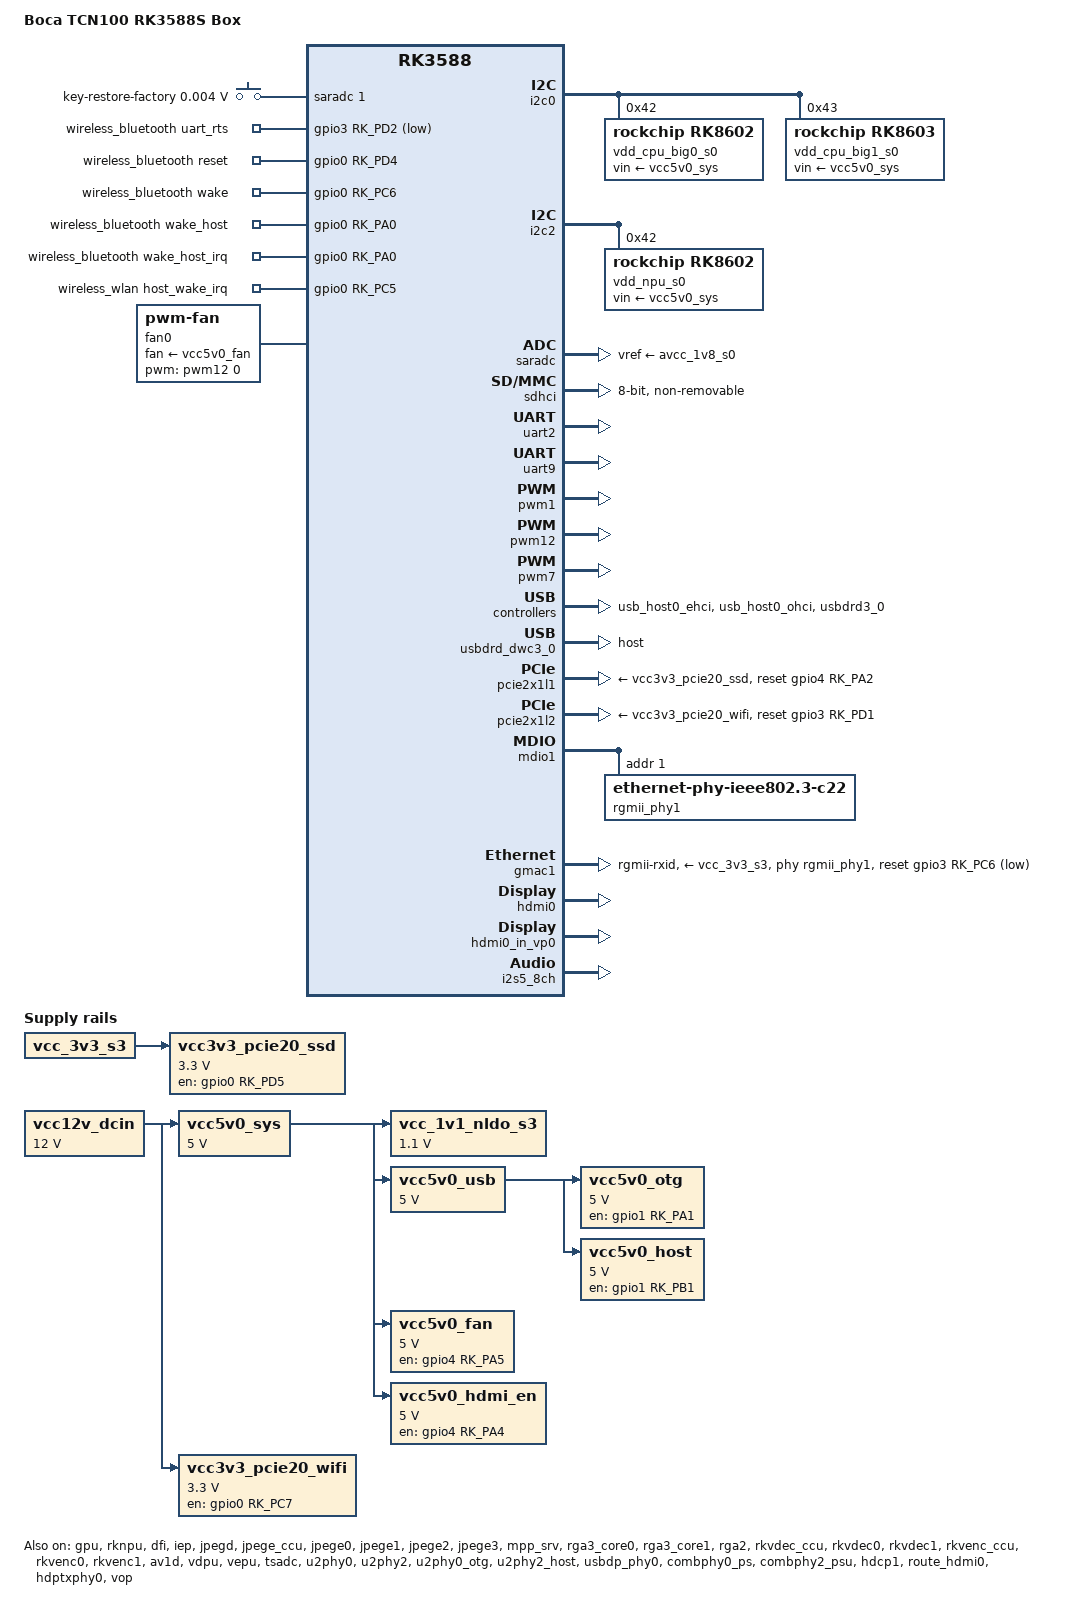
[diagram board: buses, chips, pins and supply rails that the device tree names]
// SPDX-License-Identifier: (GPL-2.0+ OR MIT)

/dts-v1/;

#include <dt-bindings/gpio/gpio.h>
#include <dt-bindings/input/input.h>
#include <dt-bindings/pinctrl/rockchip.h>
#include <dt-bindings/pwm/pwm.h>
#include "rk3588s.dtsi"
#include "rk3588-rk806-single.dtsi"
#include "rk3588-linux.dtsi"

/ {
	model = "Boca TCN100 RK3588S Box";
	compatible = "boca,tcn100", "tcn,tcn100", "rockchip,rk3588s", "rockchip,rk3588";

	aliases {
		mmc0 = &sdhci;
		serial2 = &uart2;
		serial9 = &uart9;
	};

	chosen {
		/delete-property/ bootargs;
		stdout-path = "serial2:1500000n8";
	};

	vcc12v_dcin: vcc12v-dcin {
		compatible = "regulator-fixed";
		regulator-name = "vcc12v_dcin";
		regulator-always-on;
		regulator-boot-on;
		regulator-min-microvolt = <12000000>;
		regulator-max-microvolt = <12000000>;
	};

	vcc5v0_sys: vcc5v0-sys {
		compatible = "regulator-fixed";
		regulator-name = "vcc5v0_sys";
		regulator-always-on;
		regulator-boot-on;
		regulator-min-microvolt = <5000000>;
		regulator-max-microvolt = <5000000>;
		vin-supply = <&vcc12v_dcin>;
	};

	vcc_1v1_nldo_s3: vcc-1v1-nldo-s3 {
		compatible = "regulator-fixed";
		regulator-name = "vcc_1v1_nldo_s3";
		regulator-always-on;
		regulator-boot-on;
		regulator-min-microvolt = <1100000>;
		regulator-max-microvolt = <1100000>;
		vin-supply = <&vcc5v0_sys>;
	};

	vcc3v3_pcie20_ssd: vcc3v3-pcie20-ssd {
		compatible = "regulator-fixed";
		regulator-name = "vcc3v3_pcie20_ssd";
		regulator-always-on;
		regulator-boot-on;
		regulator-min-microvolt = <3300000>;
		regulator-max-microvolt = <3300000>;
		enable-active-high;
		gpio = <&gpio0 RK_PD5 GPIO_ACTIVE_HIGH>;
		pinctrl-names = "default";
		pinctrl-0 = <&pcie20_ssd_pwr>;
		startup-delay-us = <5000>;
		vin-supply = <&vcc_3v3_s3>;
	};

	vcc3v3_pcie20_wifi: vcc3v3-pcie20-wifi {
		compatible = "regulator-fixed";
		regulator-name = "vcc3v3_pcie20_wifi";
		regulator-min-microvolt = <3300000>;
		regulator-max-microvolt = <3300000>;
		enable-active-high;
		gpio = <&gpio0 RK_PC7 GPIO_ACTIVE_HIGH>;
		pinctrl-names = "default";
		pinctrl-0 = <&pcie20_wifi_pwr>;
		startup-delay-us = <5000>;
		vin-supply = <&vcc12v_dcin>;
	};

	vcc5v0_usb: vcc5v0-usb {
		compatible = "regulator-fixed";
		regulator-name = "vcc5v0_usb";
		regulator-always-on;
		regulator-boot-on;
		regulator-min-microvolt = <5000000>;
		regulator-max-microvolt = <5000000>;
		vin-supply = <&vcc5v0_sys>;
	};

	vcc5v0_otg: vcc5v0-otg {
		compatible = "regulator-fixed";
		regulator-name = "vcc5v0_otg";
		enable-active-high;
		gpio = <&gpio1 RK_PA1 GPIO_ACTIVE_HIGH>;
		pinctrl-names = "default";
		pinctrl-0 = <&vcc5v0_otg_en>;
		regulator-min-microvolt = <5000000>;
		regulator-max-microvolt = <5000000>;
		vin-supply = <&vcc5v0_usb>;
	};

	vcc5v0_host: vcc5v0-host {
		compatible = "regulator-fixed";
		regulator-name = "vcc5v0_host";
		enable-active-high;
		gpio = <&gpio1 RK_PB1 GPIO_ACTIVE_HIGH>;
		pinctrl-names = "default";
		pinctrl-0 = <&vcc5v0_host_en>;
		regulator-min-microvolt = <5000000>;
		regulator-max-microvolt = <5000000>;
		vin-supply = <&vcc5v0_usb>;
	};

	vcc5v0_fan: vcc5v0-fan {
		compatible = "regulator-fixed";
		regulator-name = "vcc5v0_fan";
		enable-active-high;
		regulator-boot-on;
		regulator-min-microvolt = <5000000>;
		regulator-max-microvolt = <5000000>;
		gpio = <&gpio4 RK_PA5 GPIO_ACTIVE_HIGH>;
		pinctrl-names = "default";
		pinctrl-0 = <&vcc5v0_fan_en>;
		vin-supply = <&vcc5v0_sys>;
	};

	vcc5v0_hdmi_en: vcc5v0-hdmi-en {
		compatible = "regulator-fixed";
		regulator-name = "vcc5v0_hdmi_en";
		enable-active-high;
		regulator-boot-on;
		regulator-always-on;
		regulator-min-microvolt = <5000000>;
		regulator-max-microvolt = <5000000>;
		gpio = <&gpio4 RK_PA4 GPIO_ACTIVE_HIGH>;
		vin-supply = <&vcc5v0_sys>;
	};

	hdmi0_sound: hdmi0-sound {
		status = "okay";
		compatible = "rockchip,hdmi";
		rockchip,mclk-fs = <128>;
		rockchip,card-name = "rockchip-hdmi0";
		rockchip,cpu = <&i2s5_8ch>;
		rockchip,codec = <&hdmi0>;
		rockchip,jack-det;
	};

	adc-keys {
		compatible = "adc-keys";
		io-channels = <&saradc 1>;
		io-channel-names = "buttons";
		keyup-threshold-microvolt = <1800000>;
		poll-interval = <100>;
		status = "okay";

		restore-factory-key {
			label = "key-restore-factory";
			linux,code = <KEY_VENDOR>;
			press-threshold-microvolt = <4400>;
		};
	};

	wireless_bluetooth: wireless-bluetooth {
		compatible = "bluetooth-platdata";
		clocks = <&xin32k>;
		clock-names = "ext_clock";
		bt_port = "ttyS9";
		uart_rts_gpios = <&gpio3 RK_PD2 GPIO_ACTIVE_LOW>;
		pinctrl-names = "default", "rts_gpio";
		pinctrl-0 = <&uart9m2_rtsn &bt_reset_gpio &bt_wake_gpio &bt_irq_gpio>;
		pinctrl-1 = <&uart9m2_gpios>;
		BT,reset_gpio = <&gpio0 RK_PD4 GPIO_ACTIVE_HIGH>;
		BT,wake_gpio = <&gpio0 RK_PC6 GPIO_ACTIVE_HIGH>;
		BT,wake_host_gpio = <&gpio0 RK_PA0 GPIO_ACTIVE_HIGH>;
		BT,wake_host_irq = <&gpio0 RK_PA0 GPIO_ACTIVE_HIGH>;
		status = "okay";
	};

	wireless_wlan: wireless-wlan {
		compatible = "wlan-platdata";
		clocks = <&xin32k>;
		clock-names = "clk_wifi";
		wifi_chip_type = "rtl8852be";
		pinctrl-names = "default";
		pinctrl-0 = <&wifi_host_wake_irq>;
		WIFI,host_wake_irq = <&gpio0 RK_PC5 GPIO_ACTIVE_HIGH>;
		rockchip,grf = <&sys_grf>;
		status = "okay";
	};

	fan0: pwm-fan {
		compatible = "pwm-fan";
		#cooling-cells = <2>;
		fan-supply = <&vcc5v0_fan>;
		pwms = <&pwm12 0 50000 0>;
		cooling-levels = <255 205 180 155 130 100 75 50>;
		rockchip,temp-trips = <56000 1 59000 2 61000 3 63000 4 65000 5 67000 6 70000 7>;
		pulses-per-revolution = <2>;
	};
};


&rk806single {
	regulators {
		DCDC_REG3 {
			regulator-max-microvolt = <750000>;
			regulator-state-mem {
				/delete-property/ regulator-off-in-suspend;
				regulator-on-in-suspend;
				regulator-suspend-microvolt = <750000>;
			};
		};

		DCDC_REG9 {
			regulator-state-mem {
				/delete-property/ regulator-off-in-suspend;
				regulator-on-in-suspend;
			};
		};

		PLDO_REG1 {
			regulator-state-mem {
				/delete-property/ regulator-off-in-suspend;
				regulator-on-in-suspend;
			};
		};

		PLDO_REG4 {
			regulator-state-mem {
				/delete-property/ regulator-off-in-suspend;
				regulator-on-in-suspend;
			};
		};

		NLDO_REG3 {
			regulator-min-microvolt = <750000>;
			regulator-max-microvolt = <750000>;
			regulator-state-mem {
				/delete-property/ regulator-off-in-suspend;
				regulator-on-in-suspend;
			};
		};
	};
};

&i2c0 {
	status = "okay";
	pinctrl-names = "default";
	pinctrl-0 = <&i2c0m2_xfer>;
	/delete-property/ resets;
	/delete-property/ reset-names;

	vdd_cpu_big0_s0: vdd_cpu_big0_mem_s0: rk8602@42 {
		compatible = "rockchip,rk8602";
		reg = <0x42>;
		vin-supply = <&vcc5v0_sys>;
		regulator-compatible = "rk860x-reg";
		regulator-name = "vdd_cpu_big0_s0";
		regulator-min-microvolt = <550000>;
		regulator-max-microvolt = <1050000>;
		regulator-ramp-delay = <2300>;
		rockchip,suspend-voltage-selector = <1>;
		regulator-boot-on;
		regulator-always-on;
		regulator-state-mem {
			regulator-off-in-suspend;
		};
	};

	vdd_cpu_big1_s0: vdd_cpu_big1_mem_s0: rk8603@43 {
		compatible = "rockchip,rk8603";
		reg = <0x43>;
		vin-supply = <&vcc5v0_sys>;
		regulator-compatible = "rk860x-reg";
		regulator-name = "vdd_cpu_big1_s0";
		regulator-min-microvolt = <550000>;
		regulator-max-microvolt = <1050000>;
		regulator-ramp-delay = <2300>;
		rockchip,suspend-voltage-selector = <1>;
		regulator-boot-on;
		regulator-always-on;
		regulator-state-mem {
			regulator-off-in-suspend;
		};
	};
};

&i2c1 {
	/delete-property/ resets;
	/delete-property/ reset-names;
};

&i2c2 {
	status = "okay";
	pinctrl-names = "default";
	pinctrl-0 = <&i2c2m0_xfer>;
	/delete-property/ resets;
	/delete-property/ reset-names;

	vdd_npu_s0: vdd_npu_mem_s0: rk8602@42 {
		compatible = "rockchip,rk8602";
		reg = <0x42>;
		vin-supply = <&vcc5v0_sys>;
		regulator-compatible = "rk860x-reg";
		regulator-name = "vdd_npu_s0";
		regulator-min-microvolt = <550000>;
		regulator-max-microvolt = <950000>;
		regulator-ramp-delay = <2300>;
		rockchip,suspend-voltage-selector = <1>;
		regulator-boot-on;
		regulator-always-on;
		regulator-state-mem {
			regulator-off-in-suspend;
		};
	};
};

&i2c3 {
	/delete-property/ resets;
	/delete-property/ reset-names;
};

&i2c4 {
	/delete-property/ resets;
	/delete-property/ reset-names;
};

&i2c5 {
	/delete-property/ resets;
	/delete-property/ reset-names;
};

&cpu_l0 {
	cpu-supply = <&vdd_cpu_lit_s0>;
	mem-supply = <&vdd_cpu_lit_mem_s0>;
};

&cpu_b0 {
	cpu-supply = <&vdd_cpu_big0_s0>;
	mem-supply = <&vdd_cpu_big0_mem_s0>;
};

&cpu_b2 {
	cpu-supply = <&vdd_cpu_big1_s0>;
	mem-supply = <&vdd_cpu_big1_mem_s0>;
};

&fiq_debugger {
	status = "disabled";
};

&gpu {
	mali-supply = <&vdd_gpu_s0>;
	mem-supply = <&vdd_gpu_mem_s0>;
	status = "okay";
};

&rknpu {
	rknpu-supply = <&vdd_npu_s0>;
	mem-supply = <&vdd_npu_mem_s0>;
	status = "okay";
};

&dfi {
	status = "okay";
};

&dmc {
	status = "disabled";
	/delete-property/ center-supply;
	/delete-property/ mem-supply;
};

&rknpu_mmu {
	status = "okay";
};

&iep {
	status = "okay";
};

&iep_mmu {
	status = "okay";
};

&jpegd {
	status = "okay";
};

&jpegd_mmu {
	status = "okay";
};

&jpege_ccu {
	status = "okay";
};

&jpege0 {
	status = "okay";
};

&jpege0_mmu {
	status = "okay";
};

&jpege1 {
	status = "okay";
};

&jpege1_mmu {
	status = "okay";
};

&jpege2 {
	status = "okay";
};

&jpege2_mmu {
	status = "okay";
};

&jpege3 {
	status = "okay";
};

&jpege3_mmu {
	status = "okay";
};

&mpp_srv {
	status = "okay";
};

&rga3_core0 {
	status = "okay";
};

&rga3_0_mmu {
	status = "okay";
};

&rga3_core1 {
	status = "okay";
};

&rga3_1_mmu {
	status = "okay";
};

&rga2 {
	status = "okay";
};

&rkvdec_ccu {
	status = "okay";
};

&rkvdec0 {
	status = "okay";
};

&rkvdec0_mmu {
	status = "okay";
};

&rkvdec1 {
	status = "okay";
};

&rkvdec1_mmu {
	status = "okay";
};

&rkvenc_ccu {
	status = "okay";
};

&rkvenc0 {
	venc-supply = <&vdd_vdenc_s0>;
	mem-supply = <&vdd_vdenc_mem_s0>;
	status = "okay";
};

&rkvenc0_mmu {
	status = "okay";
};

&rkvenc1 {
	venc-supply = <&vdd_vdenc_s0>;
	mem-supply = <&vdd_vdenc_mem_s0>;
	status = "okay";
};

&rkvenc1_mmu {
	status = "okay";
};

&av1d {
	status = "okay";
};

&av1d_mmu {
	status = "okay";
};

&avsd {
	status = "disabled";
};

&vdpu {
	status = "okay";
};

&vdpu_mmu {
	status = "okay";
};

&vepu {
	status = "okay";
};

&saradc {
	status = "okay";
	vref-supply = <&avcc_1v8_s0>;
};

&tsadc {
	status = "okay";
};

&sdhci {
	bus-width = <8>;
	no-sdio;
	no-sd;
	non-removable;
	mmc-hs400-1_8v;
	mmc-hs400-enhanced-strobe;
	full-pwr-cycle-in-suspend;
	max-frequency = <200000000>;
	status = "okay";
};

&sdmmc {
	status = "disabled";
};

&uart2 {
	status = "okay";
	pinctrl-names = "default";
	pinctrl-0 = <&uart2m0_xfer>;
};

&uart9 {
	status = "okay";
	pinctrl-names = "default";
	pinctrl-0 = <&uart9m2_xfer &uart9m2_ctsn>;
	/delete-property/ dmas;
	/delete-property/ dma-names;
};

&pwm1 {
	status = "okay";
};

&pwm12 {
	status = "okay";
	pinctrl-names = "active";
	pinctrl-0 = <&pwm12m1_pins>;
};

&pwm7 {
	compatible = "rockchip,remotectl-pwm";
	pinctrl-names = "default";
	pinctrl-0 = <&pwm7m0_pins>;
	remote_pwm_id = <7>;
	handle_cpu_id = <1>;
	remote_support_psci = <0>;
	status = "okay";

	ir_key1 {
		rockchip,usercode = <0xdd22>;
		rockchip,key_table =
			<0x31 0x1c>, <0x35 0x67>, <0x2d 0x6c>, <0x66 0x69>,
			<0x3e 0x6a>, <0x7d 0x8b>, <0x77 0xac>, <0x6a 0x9e>,
			<0x72 0x8d>, <0x23 0x74>, <0x63 0x71>, <0x7f 0x73>,
			<0x7e 0x72>, <0x7a 0x192>, <0x79 0x193>, <0x6d 0x02>,
			<0x6c 0x03>, <0x33 0x04>, <0x71 0x05>, <0x70 0x06>,
			<0x37 0x07>, <0x75 0x08>, <0x74 0x09>, <0x3b 0x0a>,
			<0x78 0x0b>, <0x3f 0x6f>, <0x0c 0x72>, <0x0b 0x73>,
			/* 252=* , 251=# , 250=voice , 249=M */
			<0x2f 0xfc>, <0x25 0xfb>, <0x00 0xfa>, <0x0f 0xf9>;
	};
};

&u2phy0 {
	status = "okay";
};

&u2phy2 {
	status = "okay";
};

&u2phy3 {
	status = "disabled";
};

&u2phy0_otg {
	status = "okay";
	vbus-supply = <&vcc5v0_otg>;
};

&u2phy2_host {
	status = "okay";
	phy-supply = <&vcc5v0_host>;
};

&u2phy3_host {
	status = "disabled";
	/delete-property/ phy-supply;
};

&usb_host0_ehci {
	status = "okay";
};

&usb_host0_ohci {
	status = "okay";
};

&usb_host1_ehci {
	status = "disabled";
};

&usb_host1_ohci {
	status = "disabled";
};

&usbhost3_0 {
	status = "disabled";
};

&usbhost_dwc3_0 {
	status = "disabled";
};

&usbdrd3_0 {
	status = "okay";
};

&usbdrd_dwc3_0 {
	dr_mode = "host";
	status = "okay";
};

&usbdp_phy0 {
	status = "okay";
};


&combphy0_ps {
	status = "okay";
};

&combphy2_psu {
	status = "okay";
};

&pcie2x1l1 {
	/delete-property/ prsnt-gpios;
	reset-gpios = <&gpio4 RK_PA2 GPIO_ACTIVE_HIGH>;
	rockchip,init-delay-ms = <100>;
	vpcie3v3-supply = <&vcc3v3_pcie20_ssd>;
	status = "okay";
};

&pcie2x1l2 {
	/delete-property/ prsnt-gpios;
	reset-gpios = <&gpio3 RK_PD1 GPIO_ACTIVE_HIGH>;
	rockchip,skip-scan-in-resume;
	vpcie3v3-supply = <&vcc3v3_pcie20_wifi>;
	status = "okay";
};

&mdio1 {
	rgmii_phy1: phy@1 {
		compatible = "ethernet-phy-ieee802.3-c22";
		reg = <0x1>;
	};
};

&gmac1 {
	status = "okay";
	clock_in_out = "output";
	phy-handle = <&rgmii_phy1>;
	phy-mode = "rgmii-rxid";
	phy-supply = <&vcc_3v3_s3>;
	snps,reset-gpio = <&gpio3 RK_PC6 GPIO_ACTIVE_LOW>;
	snps,reset-active-low;
	snps,reset-delays-us = <0 20000 100000>;
	pinctrl-names = "default";
	pinctrl-0 = <&gmac1_miim
			     &gmac1_tx_bus2
			     &gmac1_rx_bus2
			     &gmac1_rgmii_clk
			     &gmac1_rgmii_bus>;
	rx_delay = <0x00>;
	tx_delay = <0x45>;
};

&hdcp1 {
	status = "okay";
};

&hdmi0 {
	status = "okay";
	cec-enable = "true";
	enable-gpios = <&gpio4 RK_PB2 GPIO_ACTIVE_HIGH>;
	pinctrl-names = "default";
	pinctrl-0 = <&hdmim0_tx0_cec &hdmim0_tx0_hpd &hdmim0_tx0_scl &hdmim0_tx0_sda>;
};

&hdmi0_in_vp0 {
	status = "okay";
};

&hdmi0_in_vp1 {
	status = "disabled";
};

&route_hdmi0 {
	status = "okay";
	logo,mode = "fullscreen";
	connect = <&vp0_out_hdmi0>;
};

&hdptxphy0 {
	status = "okay";
};

&i2s5_8ch {
	status = "okay";
};

&vop {
	status = "okay";
	/delete-property/ disable-win-move;
	/delete-property/ vop-supply;
	/delete-property/ operating-points-v2;
	/delete-property/ rockchip,aclk-normal-mode-rates;
	/delete-property/ rockchip,aclk-advanced-mode-rates;
	clocks = <&cru ACLK_VOP>, <&cru HCLK_VOP>, <&cru DCLK_VOP0>, <&cru DCLK_VOP1>,
		 <&cru DCLK_VOP2>, <&cru DCLK_VOP3>, <&cru PCLK_VOP_ROOT>, <&cru DCLK_VOP0_SRC>,
		 <&cru DCLK_VOP1_SRC>, <&cru DCLK_VOP2_SRC>;
	clock-names = "aclk_vop", "hclk_vop", "dclk_vp0", "dclk_vp1",
		      "dclk_vp2", "dclk_vp3", "pclk_vop", "dclk_src_vp0",
		      "dclk_src_vp1", "dclk_src_vp2";
	assigned-clocks = <&cru ACLK_VOP>;
	assigned-clock-rates = <800000000>;
};

&vp0 {
	rockchip,plane-mask = <0x05>;
	rockchip,primary-plane = <0x02>;
};

&vp1 {
	rockchip,plane-mask = <0x0a>;
	rockchip,primary-plane = <0x03>;
};

&vp2 {
	rockchip,plane-mask = <0x140>;
	rockchip,primary-plane = <0x08>;
};

&vp3 {
	rockchip,plane-mask = <0x280>;
	rockchip,primary-plane = <0x09>;
};

&vop_mmu {
	status = "okay";
};

&display_subsystem {
	clocks = <&hdptxphy0>;
	clock-names = "hdmi0_phy_pll";
};

&rockchip_suspend {
	compatible = "rockchip,pm-rk3588";
	status = "okay";
	rockchip,sleep-debug-en = <1>;
	rockchip,sleep-mode-config = <
		(0
		| RKPM_SLP_ARMOFF_DDRPD
		)
	>;
	rockchip,wakeup-config = <
		(0
		| RKPM_CPU0_WKUP_EN
		| RKPM_GPIO_WKUP_EN
		| RKPM_USB_WKUP_EN
		)
	>;
	rockchip,virtual-poweroff = <1>;
	/delete-property/ power-domains;
};

&pinctrl {
	usb {
		vcc5v0_otg_en: vcc5v0-otg-en {
			rockchip,pins = <1 RK_PA1 RK_FUNC_GPIO &pcfg_pull_none>;
		};

		vcc5v0_host_en: vcc5v0-host-en {
			rockchip,pins = <1 RK_PB1 RK_FUNC_GPIO &pcfg_pull_none>;
		};
	};

	fan {
		vcc5v0_fan_en: vcc5v0-fan-en {
			rockchip,pins = <4 RK_PA5 RK_FUNC_GPIO &pcfg_pull_none>;
		};

	};

	pcie {
		pcie20_ssd_pwr: pcie20-ssd-pwr {
			rockchip,pins = <0 RK_PD5 RK_FUNC_GPIO &pcfg_pull_none>;
		};

		pcie20_wifi_pwr: pcie20-wifi-pwr {
			rockchip,pins = <0 RK_PC7 RK_FUNC_GPIO &pcfg_pull_none>;
		};
	};

	wireless-wlan {
		wifi_host_wake_irq: wifi-host-wake-irq {
			rockchip,pins = <0 RK_PC5 RK_FUNC_GPIO &pcfg_pull_down>;
		};
	};

	wireless-bluetooth {
		uart9m2_gpios: uart9m2-gpios {
			rockchip,pins = <3 RK_PD2 RK_FUNC_GPIO &pcfg_pull_none>;
		};

		bt_reset_gpio: bt-reset-gpio {
			rockchip,pins = <0 RK_PD4 RK_FUNC_GPIO &pcfg_pull_none>;
		};

		bt_wake_gpio: bt-wake-gpio {
			rockchip,pins = <0 RK_PC6 RK_FUNC_GPIO &pcfg_pull_none>;
		};

		bt_irq_gpio: bt-irq-gpio {
			rockchip,pins = <0 RK_PA0 RK_FUNC_GPIO &pcfg_pull_none>;
		};
	};

};

&usbdp_phy0 {
	status = "okay";
};
